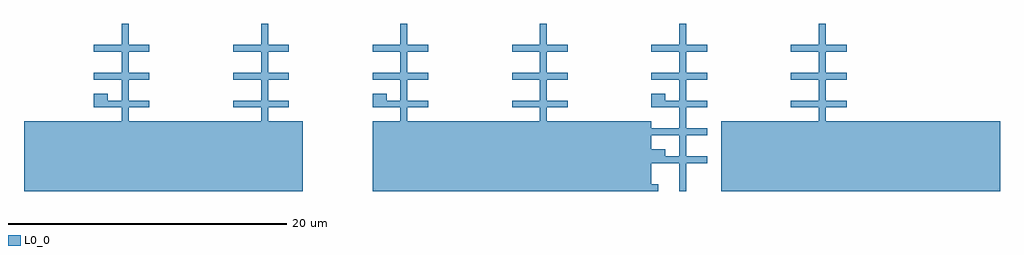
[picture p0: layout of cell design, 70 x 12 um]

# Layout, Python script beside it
import gdspy

# Define the library and cell
lib = gdspy.GdsLibrary()
cell = lib.new_cell('design')

# Draw three rectangular active regions
active_region_width = 20
active_region_height = 5
active_region_spacing = 5

for i in range(3):
    x = i * (active_region_width + active_region_spacing)
    y = 0
    rect = gdspy.Rectangle((x, y), (x + active_region_width, y + active_region_height))
    cell.add(rect)

# Create a complex polysilicon gate pattern
poly_width = 0.5
poly_end_x = 60  # arbitrary end x-coordinate for demonstration purposes

for x in [5, 15, 25, 35, 45, 55]:
    for y in [0, 2, 4, 6, 8]:
        if x < poly_end_x:
            line = gdspy.Rectangle((x, y), (x + poly_width, y + poly_width))
            cell.add(line)
            line = gdspy.Rectangle((x, y + 2), (x + 4, y + 2 + poly_width))
            cell.add(line)
            line = gdspy.Rectangle((x + 2, y), (x + 2 + poly_width, y + 4))
            cell.add(line)

# Add several contact holes
contact_size = 1

for x in [5, 25, 45]:
    for y in [2, 6]:
        contact = gdspy.Rectangle((x, y), (x + contact_size, y + contact_size))
        cell.add(contact)

# Save the design to a GDS file
lib.write_gds('layout.gds')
